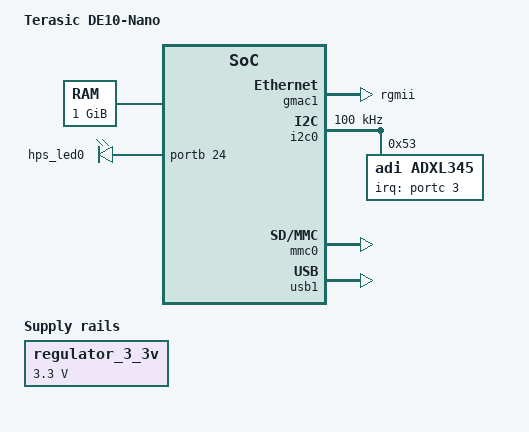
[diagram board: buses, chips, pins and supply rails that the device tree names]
/*
 * Copyright (C) 2017, Intel Corporation
 *
 * based on socfpga_cyclone5_de0_nano_soc.dts
 *
 * SPDX-License-Identifier:	GPL-2.0+
 */

#include "socfpga_cyclone5.dtsi"

/ {
	model = "Terasic DE10-Nano";
	compatible = "altr,socfpga-cyclone5", "altr,socfpga";

	chosen {
		bootargs = "console=ttyS0,115200";
	};

	aliases {
		ethernet0 = &gmac1;
		udc0 = &usb1;
	};

	memory {
		name = "memory";
		device_type = "memory";
		reg = <0x0 0x40000000>; /* 1GB */
	};

        regulator_3_3v: 3-3-v-regulator {
                compatible = "regulator-fixed";
                regulator-name = "3.3V";
                regulator-min-microvolt = <3300000>;
                regulator-max-microvolt = <3300000>;
        };

        leds {
                compatible = "gpio-leds";
                hps0 {
                        label = "hps_led0";
                        gpios = <&portb 24 0>;
                        linux,default-trigger = "heartbeat";
                };
        };

	soc {
		u-boot,dm-pre-reloc;
	};
};

&gmac1 {
	status = "okay";
	phy-mode = "rgmii";

	rxd0-skew-ps = <420>;
	rxd1-skew-ps = <420>;
	rxd2-skew-ps = <420>;
	rxd3-skew-ps = <420>;
	txen-skew-ps = <0>;
	txc-skew-ps = <1860>;
	rxdv-skew-ps = <420>;
	rxc-skew-ps = <1680>;
};

&gpio0 {
	status = "okay";
};

&gpio1 {
	status = "okay";
};

&gpio2 {
	status = "okay";
};

&i2c0 {
        status = "okay";
        clock-frequency = <100000>;
                
        adxl345: adxl345@0 {
                compatible = "adi,adxl345";
                reg = <0x53>;

                interrupt-parent = <&portc>;
                interrupts = <3 2>;
        };
};

&mmc0 {
	status = "okay";
	u-boot,dm-pre-reloc;
};

&usb1 {
	status = "okay";
};
